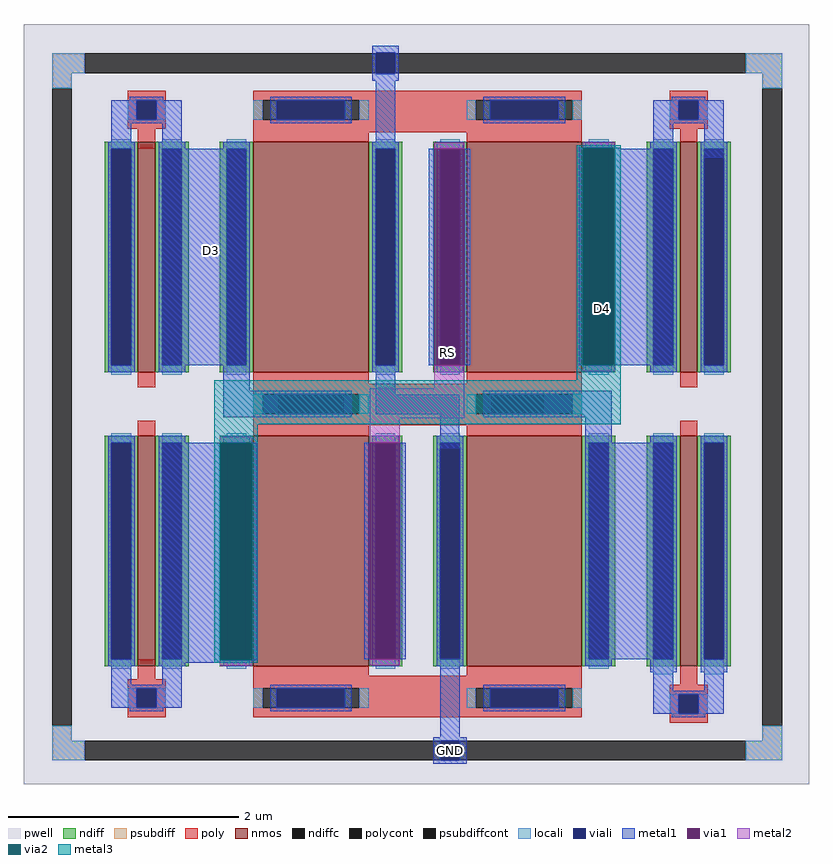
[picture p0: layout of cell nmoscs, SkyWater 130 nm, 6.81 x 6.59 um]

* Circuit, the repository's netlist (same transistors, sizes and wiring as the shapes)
** sch_path: /home/hisyam/opamp/mag/nmoscs.sch
.subckt nmoscs GND D4 D3 RS
*.PININFO GND:B D4:B D3:B RS:B
XM3 D3 D3 GND GND sky130_fd_pr__nfet_01v8 L=1 W=2 nf=1 m=2
XM4 D4 D3 RS GND sky130_fd_pr__nfet_01v8 L=1 W=2 nf=1 m=2
XM1 D3 D3 D3 GND sky130_fd_pr__nfet_01v8 L=0.15 W=2 nf=1 m=2
XM2 D4 D4 D4 GND sky130_fd_pr__nfet_01v8 L=0.15 W=2 nf=1 m=2
.ends
.end

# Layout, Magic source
magic
tech sky130A
magscale 1 2
<< pwell >>
rect -340 -626 1022 692
<< psubdiff >>
rect -291 607 -234 641
rect 912 607 975 641
rect -291 581 -257 607
rect 941 581 975 607
rect -291 -551 -257 -525
rect 941 -551 975 -525
rect -291 -585 -234 -551
rect 912 -585 975 -551
<< psubdiffcont >>
rect -234 607 912 641
rect -291 -525 -257 581
rect 941 -525 975 581
rect -234 -585 912 -551
<< poly >>
rect -160 560 -94 576
rect -160 526 -144 560
rect -110 526 -94 560
rect -160 510 -94 526
rect -142 476 -112 510
rect 258 504 428 576
rect 258 -4 428 68
rect -142 -444 -112 -410
rect -160 -460 -94 -444
rect -160 -494 -144 -460
rect -110 -494 -94 -460
rect -160 -510 -94 -494
rect 258 -510 428 -438
rect 798 -454 828 -420
rect 780 -470 846 -454
rect 780 -504 796 -470
rect 830 -504 846 -470
rect 780 -520 846 -504
<< polycont >>
rect -144 526 -110 560
rect -144 -494 -110 -460
rect 796 -504 830 -470
<< locali >>
rect -291 607 -234 641
rect 912 607 975 641
rect -291 581 -257 607
rect 941 581 975 607
rect -160 526 -144 560
rect -110 526 -94 560
rect -188 476 -154 492
rect -100 476 -66 492
rect -188 -426 -154 -410
rect -100 -426 -66 -410
rect 752 -436 786 -420
rect 840 -436 874 -420
rect -160 -494 -144 -460
rect -110 -494 -94 -460
rect 780 -504 796 -470
rect 830 -504 846 -470
rect -291 -551 -257 -525
rect 941 -551 975 -525
rect -291 -585 -234 -551
rect 912 -585 975 -551
<< viali >>
rect 270 641 304 642
rect 270 607 304 641
rect 270 606 304 607
rect -144 526 -110 560
rect -144 -494 -110 -460
rect 796 -504 830 -470
rect 382 -585 416 -551
<< metal1 >>
rect 264 642 310 654
rect 264 606 270 642
rect 304 606 310 642
rect 264 594 310 606
rect -156 560 -98 566
rect -188 526 -144 560
rect -110 526 -66 560
rect -188 520 -66 526
rect -188 488 -154 520
rect -100 488 -66 520
rect -194 476 -148 488
rect -106 476 -60 488
rect 270 476 304 594
rect -100 100 48 476
rect 362 100 372 476
rect 424 100 434 476
rect 622 100 632 477
rect 684 476 694 477
rect 752 476 786 560
rect 684 100 786 476
rect 840 460 874 560
rect 6 56 52 90
rect 6 10 96 56
rect 270 49 304 98
rect 270 15 415 49
rect -100 -410 2 -34
rect -194 -422 -148 -410
rect -106 -411 2 -410
rect 54 -411 64 -34
rect 250 -410 260 -34
rect 312 -410 322 -34
rect 382 -44 415 15
rect 563 10 680 56
rect 634 -32 680 10
rect 640 -408 788 -34
rect -106 -416 16 -411
rect -106 -422 -60 -416
rect -188 -454 -154 -422
rect -100 -454 -66 -422
rect -188 -460 -66 -454
rect -188 -494 -144 -460
rect -110 -494 -66 -460
rect -156 -500 -98 -494
rect 382 -545 416 -409
rect 640 -410 780 -408
rect 746 -432 792 -420
rect 834 -432 880 -420
rect 752 -464 786 -432
rect 840 -464 874 -432
rect 752 -470 874 -464
rect 752 -504 796 -470
rect 830 -504 874 -470
rect 784 -510 842 -504
rect 370 -551 428 -545
rect 370 -585 382 -551
rect 416 -585 428 -551
rect 370 -591 428 -585
<< via1 >>
rect 372 100 424 476
rect 632 100 684 477
rect 2 -411 54 -34
rect 260 -410 312 -34
<< metal2 >>
rect 372 476 424 486
rect 372 60 424 100
rect 629 477 685 487
rect 629 90 685 100
rect 260 8 424 60
rect 0 -34 56 -24
rect 0 -421 56 -411
rect 260 -34 312 8
rect 260 -420 312 -410
<< via2 >>
rect 629 100 632 477
rect 632 100 684 477
rect 684 100 685 477
rect 0 -411 2 -34
rect 2 -411 54 -34
rect 54 -411 56 -34
<< metal3 >>
rect 619 477 695 482
rect 619 100 629 477
rect 685 100 695 477
rect 619 74 695 100
rect -10 -2 695 74
rect -10 -34 66 -2
rect -10 -411 0 -34
rect 56 -411 66 -34
rect -10 -416 66 -411
use sky130_fd_pr__nfet_01v8_F3PBJA  sky130_fd_pr__nfet_01v8_F3PBJA_0
transform 1 0 158 0 1 288
box -158 -288 158 288
use sky130_fd_pr__nfet_01v8_F3PBJA  sky130_fd_pr__nfet_01v8_F3PBJA_1
transform 1 0 158 0 1 -222
box -158 -288 158 288
use sky130_fd_pr__nfet_01v8_F3PBJA  sky130_fd_pr__nfet_01v8_F3PBJA_2
transform 1 0 528 0 1 288
box -158 -288 158 288
use sky130_fd_pr__nfet_01v8_F3PBJA  sky130_fd_pr__nfet_01v8_F3PBJA_3
transform 1 0 528 0 1 -222
box -158 -288 158 288
use sky130_fd_pr__nfet_01v8_TC9PLT  sky130_fd_pr__nfet_01v8_TC9PLT_0
transform 1 0 813 0 1 -222
box -73 -226 73 226
use sky130_fd_pr__nfet_01v8_TC9PLT  sky130_fd_pr__nfet_01v8_TC9PLT_1
transform 1 0 -127 0 1 288
box -73 -226 73 226
use sky130_fd_pr__nfet_01v8_TC9PLT  sky130_fd_pr__nfet_01v8_TC9PLT_2
transform 1 0 -127 0 1 -222
box -73 -226 73 226
use sky130_fd_pr__nfet_01v8_TCR5KT  sky130_fd_pr__nfet_01v8_TCR5KT_0
transform 1 0 813 0 1 319
box -73 -257 73 257
<< labels >>
flabel metal1 -15 299 -15 299 0 FreeSans 800 0 0 0 D3
port 2 nsew
flabel viali 400 -568 400 -568 0 FreeSans 800 0 0 0 GND
port 4 nsew
flabel via1 394 122 394 122 0 FreeSans 800 0 0 0 RS
port 5 nsew
flabel via2 664 198 664 198 0 FreeSans 800 0 0 0 D4
port 7 nsew
<< end >>

# cell sky130_fd_pr__nfet_01v8_F3PBJA: kit device sky130_fd_pr__nfet_01v8, w 2 l 1 m 1 nf 1 diffcov 100 polycov 100 guard 0 glc 1 grc 1 gtc 1 gbc 1 tbcov 100 rlcov 100 topc 1 botc 1 poverlap 0 doverlap 0 lmin 0.15 wmin 0.42 compatible {sky130_fd_pr__nfet_01v8 sky130_fd_pr__nfet_01v8_lvt sky130_fd_bs_flash__special_sonosfet_star sky130_fd_pr__nfet_g5v0d10v5 sky130_fd_pr__nfet_05v0_nvt sky130_fd_pr__nfet_03v3_nvt} full_metal 1 viasrc 100 viadrn 100 viagate 70 viagb 0 viagr 0 viagl 0 viagt 0

# cell sky130_fd_pr__nfet_01v8_TC9PLT: kit device sky130_fd_pr__nfet_01v8, w 2 l 0.150 m 1 nf 1 diffcov 100 polycov 100 guard 0 glc 1 grc 1 gtc 1 gbc 1 tbcov 100 rlcov 100 topc 0 botc 0 poverlap 0 doverlap 1 lmin 0.15 wmin 0.42 compatible {sky130_fd_pr__nfet_01v8 sky130_fd_pr__nfet_01v8_lvt sky130_fd_bs_flash__special_sonosfet_star sky130_fd_pr__nfet_g5v0d10v5 sky130_fd_pr__nfet_05v0_nvt sky130_fd_pr__nfet_03v3_nvt} full_metal 1 viasrc 100 viadrn 100 viagate 100 viagb 0 viagr 0 viagl 0 viagt 0

# cell sky130_fd_pr__nfet_01v8_TCR5KT: kit device sky130_fd_pr__nfet_01v8, w 2 l 0.150 m 1 nf 1 diffcov 100 polycov 100 guard 0 glc 1 grc 1 gtc 1 gbc 1 tbcov 100 rlcov 100 topc 1 botc 0 poverlap 0 doverlap 1 lmin 0.15 wmin 0.42 compatible {sky130_fd_pr__nfet_01v8 sky130_fd_pr__nfet_01v8_lvt sky130_fd_bs_flash__special_sonosfet_star sky130_fd_pr__nfet_g5v0d10v5 sky130_fd_pr__nfet_05v0_nvt sky130_fd_pr__nfet_03v3_nvt} full_metal 1 viasrc 100 viadrn 100 viagate 100 viagb 0 viagr 0 viagl 0 viagt 0
